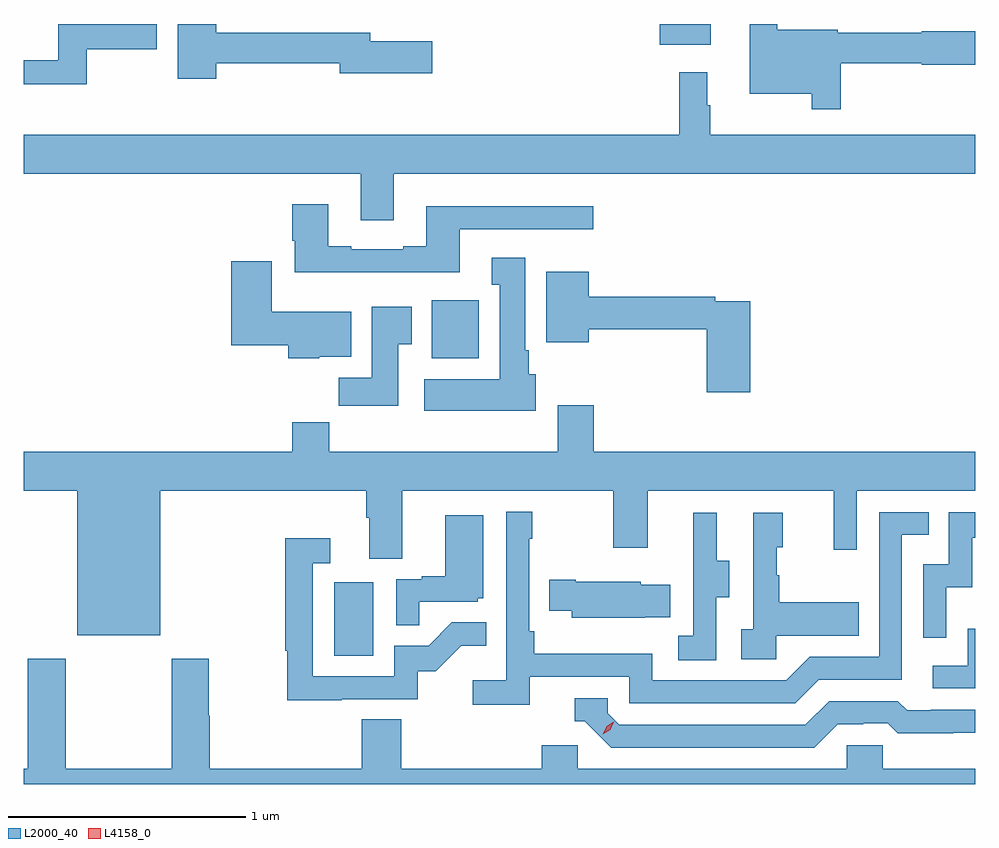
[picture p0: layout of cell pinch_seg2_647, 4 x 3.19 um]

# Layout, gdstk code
import gdstk
lib = gdstk.Library(unit=1e-6, precision=1e-09)
def R(c, l, rs):  # rectangles x0, y0, x1, y1
    for r in rs: c.add(gdstk.rectangle(r[:2], r[2:], *l))
def P(c, l, *ps):  # polygons
    for p in ps: c.add(gdstk.Polygon(p, *l))
L2000_40 = (2000, 40)
L4158_0 = (4158, 0)

pinch_seg2_647 = lib.new_cell('pinch_seg2_647')
R(pinch_seg2_647, L2000_40, [(1042.664,584.34,1042.828,584.647), (1043.075,585.59,1043.272,585.832), (1044.032,586.907,1044.247,586.994)])
P(pinch_seg2_647, L2000_40, [(1044.793,586.83),(1045.134,586.83),(1045.134,586.822),(1045.359,586.822),(1045.359,586.964),(1045.134,586.964),(1045.134,586.958),(1044.781,586.958),(1044.781,586.969),(1044.527,586.969),(1044.527,586.994),(1044.41,586.994),(1044.41,586.7),(1044.672,586.7),(1044.672,586.635),(1044.793,586.635)],
  [(1042.168,586.83),(1042.688,586.83),(1042.688,586.787),(1043.077,586.787),(1043.077,586.922),(1042.816,586.922),(1042.816,586.958),(1042.168,586.958),(1042.168,586.994),(1042.007,586.994),(1042.007,586.764),(1042.168,586.764)],
  [(1041.625,586.887),(1041.918,586.887),(1041.918,586.994),(1041.504,586.994),(1041.504,586.841),(1041.359,586.841),(1041.359,586.74),(1041.625,586.74)],
  [(1042.915,586.364),(1045.359,586.364),(1045.359,586.528),(1044.244,586.528),(1044.244,586.652),(1044.232,586.652),(1044.232,586.792),(1044.115,586.792),(1044.115,586.528),(1041.359,586.528),(1041.359,586.364),(1042.775,586.364),(1042.775,586.17),(1042.915,586.17)],
  [(1043.191,586.131),(1043.752,586.131),(1043.752,586.228),(1043.051,586.228),(1043.051,586.06),(1042.955,586.06),(1042.955,586.047),(1042.735,586.047),(1042.735,586.06),(1042.639,586.06),(1042.639,586.237),(1042.487,586.237),(1042.487,586.084),(1042.499,586.084),(1042.499,585.95),(1043.191,585.95)],
  [(1043.512,585.522),(1043.482,585.522),(1043.482,585.622),(1043.467,585.622),(1043.467,586.012),(1043.327,586.012),(1043.327,585.899),(1043.36,585.899),(1043.36,585.502),(1043.043,585.502),(1043.043,585.368),(1043.512,585.368)],
  [(1042.602,585.596),(1042.735,585.596),(1042.735,585.784),(1042.402,585.784),(1042.402,585.997),(1042.232,585.997),(1042.232,585.644),(1042.472,585.644),(1042.472,585.59),(1042.602,585.59)],
  [(1044.413,585.828),(1044.266,585.828),(1044.266,585.848),(1043.734,585.848),(1043.734,585.952),(1043.555,585.952),(1043.555,585.656),(1043.734,585.656),(1043.734,585.712),(1044.23,585.712),(1044.23,585.447),(1044.413,585.447)],
  [(1042.933,585.649),(1042.99,585.649),(1042.99,585.805),(1042.823,585.805),(1042.823,585.508),(1042.684,585.508),(1042.684,585.39),(1042.933,585.39)],
  [(1041.934,585.032),(1042.799,585.032),(1042.799,584.92),(1042.811,584.92),(1042.811,584.746),(1042.951,584.746),(1042.951,585.032),(1043.836,585.032),(1043.836,584.793),(1043.983,584.793),(1043.983,585.032),(1044.764,585.032),(1044.764,584.784),(1044.861,584.784),(1044.861,585.032),(1045.359,585.032),(1045.359,585.196),(1043.756,585.196),(1043.756,585.391),(1043.603,585.391),(1043.603,585.196),(1042.643,585.196),(1042.643,585.32),(1042.487,585.32),(1042.487,585.196),(1041.359,585.196),(1041.359,585.032),(1041.584,585.032),(1041.584,584.426),(1041.934,584.426)],
  [(1043.486,584.25),(1043.904,584.25),(1043.904,584.139),(1044.601,584.139),(1044.7,584.238),(1045.05,584.238),(1045.05,584.847),(1045.163,584.847),(1045.163,584.943),(1044.954,584.943),(1044.954,584.334),(1044.663,584.334),(1044.564,584.235),(1044,584.235),(1044,584.347),(1043.504,584.347),(1043.504,584.443),(1043.484,584.443),(1043.484,584.831),(1043.497,584.831),(1043.497,584.944),(1043.388,584.944),(1043.388,584.236),(1043.247,584.236),(1043.247,584.134),(1043.486,584.134)],
  [(1045.236,584.627),(1045.346,584.627),(1045.346,584.835),(1045.359,584.835),(1045.359,584.943),(1045.248,584.943),(1045.248,584.724),(1045.14,584.724),(1045.14,584.415),(1045.236,584.415)],
  [(1044.27,584.584),(1044.325,584.584),(1044.325,584.739),(1044.271,584.739),(1044.271,584.941),(1044.173,584.941),(1044.173,584.727),(1044.174,584.727),(1044.174,584.423),(1044.111,584.423),(1044.111,584.32),(1044.27,584.32)],
  [(1044.522,584.423),(1044.869,584.423),(1044.869,584.563),(1044.535,584.563),(1044.535,584.678),(1044.525,584.678),(1044.525,584.796),(1044.55,584.796),(1044.55,584.941),(1044.426,584.941),(1044.426,584.45),(1044.375,584.45),(1044.375,584.325),(1044.522,584.325)],
  [(1043.021,584.565),(1043.268,584.565),(1043.268,584.58),(1043.29,584.58),(1043.29,584.929),(1043.132,584.929),(1043.132,584.674),(1043.033,584.674),(1043.033,584.661),(1042.926,584.661),(1042.926,584.467),(1043.021,584.467)],
  [(1042.697,584.157),(1043.016,584.157),(1043.016,584.274),(1043.092,584.274),(1043.199,584.381),(1043.303,584.381),(1043.303,584.48),(1043.159,584.48),(1043.061,584.382),(1042.917,584.382),(1042.917,584.253),(1042.575,584.253),(1042.575,584.727),(1042.648,584.727),(1042.648,584.833),(1042.459,584.833),(1042.459,584.36),(1042.467,584.36),(1042.467,584.152),(1042.697,584.152)],
  [(1043.969,584.501),(1044.077,584.501),(1044.077,584.638),(1043.952,584.638),(1043.952,584.65),(1043.68,584.65),(1043.68,584.658),(1043.569,584.658),(1043.569,584.528),(1043.663,584.528),(1043.663,584.498),(1043.969,584.498)],
  [(1045.359,584.452),(1045.326,584.452),(1045.326,584.298),(1045.179,584.298),(1045.179,584.202),(1045.359,584.202)],
  [(1041.377,584.326),(1041.377,583.864),(1041.359,583.864),(1041.359,583.8),(1045.359,583.8),(1045.359,583.864),(1044.969,583.864),(1044.969,583.962),(1044.819,583.962),(1044.819,583.864),(1043.688,583.864),(1043.688,583.962),(1043.537,583.962),(1043.537,583.864),(1042.946,583.864),(1042.946,584.072),(1042.781,584.072),(1042.781,583.864),(1042.142,583.864),(1042.142,584.087),(1042.137,584.087),(1042.137,584.326),(1041.982,584.326),(1041.982,583.864),(1041.537,583.864),(1041.537,584.326)],
  [(1044.781,584.052),(1044.888,584.052),(1044.888,584.055),(1044.991,584.055),(1045.033,584.013),(1045.266,584.013),(1045.266,584.015),(1045.359,584.015),(1045.359,584.112),(1045.171,584.112),(1045.171,584.109),(1045.072,584.109),(1045.033,584.148),(1044.744,584.148),(1044.645,584.049),(1043.862,584.049),(1043.814,584.097),(1043.814,584.16),(1043.675,584.16),(1043.675,584.064),(1043.718,584.064),(1043.829,583.953),(1044.682,583.953)])
P(pinch_seg2_647, L4158_0, [(1043.793,584.009),(1043.793,584.009),(1043.809,584.042),(1043.839,584.062),(1043.839,584.062),(1043.839,584.061),(1043.824,584.029),(1043.793,584.009)])

lib.write_gds('pinch_seg2_647.gds')
